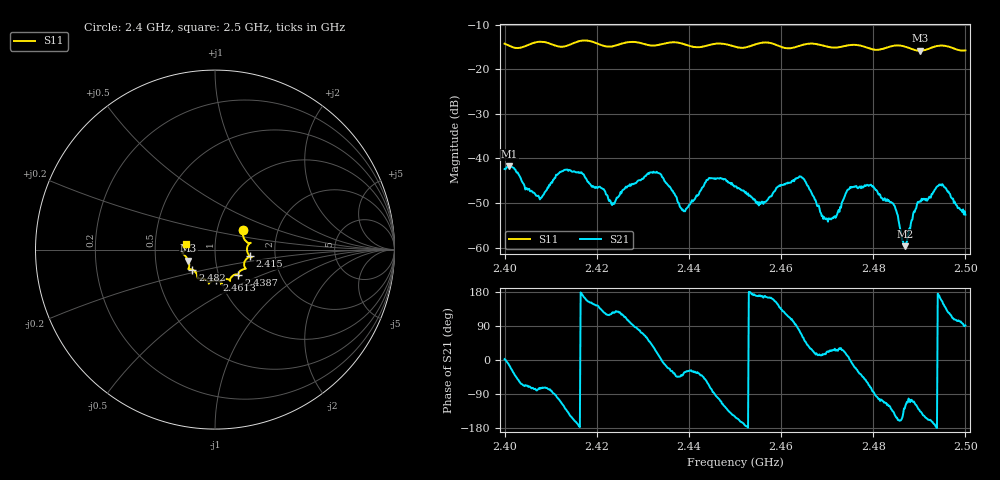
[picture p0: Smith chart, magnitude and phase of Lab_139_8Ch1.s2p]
# Hz S RI R 50
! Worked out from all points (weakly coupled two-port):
!   601 points, 2.4 GHz to 2.5 GHz, reference 50 ohm
!   highest |S21| = -41.78 dB at 2.401 GHz (marker M1); lowest = -59.7 dB at 2.4868 GHz (marker M2)
!   lowest |S11| = -15.9 dB at 2.4902 GHz (marker M3), VSWR 1.38, Z = 36.8 - j4.66 ohm
!   |S11| at or under -10 dB: start of sweep to end of sweep
!   S12 and S22 are empty: the file has one direction only
!   S11 on the Smith chart (normalised r, x): 2.4 GHz: 1.33, +0.31; 2.415 GHz: 1.47, -0.11; 2.4387 GHz: 1.24, -0.36; 2.4613 GHz: 0.96, -0.34; 2.482 GHz: 0.76, -0.17; 2.5 GHz: 0.72, +0.05
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2.4e9  0.1573 0.1115  0.0076 0.000316  0 0  0 0
2.401e9  0.1551 0.0967  0.0079 -0.00197  0 0  0 0
2.407667e9  0.1993 0.0376  0.000839 -0.00337  0 0  0 0
2.415e9  0.1924 -0.0357  -0.00663 -0.00272  0 0  0 0
2.416667e9  0.2037 -0.0435  -0.00697 0.0005  0 0  0 0
2.4235e9  0.1624 -0.0788  -0.00186 0.00255  0 0  0 0
2.433333e9  0.1321 -0.1318  0.00666 0.00169  0 0  0 0
2.438667e9  0.1301 -0.1417  0.00204 -0.00172  0 0  0 0
2.444333e9  0.0843 -0.1658  0.00242 -0.00551  0 0  0 0
2.45e9  0.0687 -0.1647  -0.00418 -0.00246  0 0  0 0
2.455667e9  0.0357 -0.1936  -0.00311 0.000683  0 0  0 0
2.461333e9  0.00789 -0.1708  -0.00243 0.00464  0 0  0 0
2.4645e9  -0.0308 -0.1834  0.00251 0.00556  0 0  0 0
2.466667e9  -0.0347 -0.1902  0.0036 0.00188  0 0  0 0
2.47e9  -0.0433 -0.1729  0.00195 0.000806  0 0  0 0
2.475333e9  -0.0943 -0.1612  0.00476 -0.000619  0 0  0 0
2.482e9  -0.1258 -0.1117  -0.00109 -0.00338  0 0  0 0
2.483333e9  -0.1396 -0.1087  -0.00178 -0.00291  0 0  0 0
2.486833e9  -0.1463 -0.1032  -0.000643 -0.000817  0 0  0 0
2.490167e9  -0.1482 -0.0616  -0.00236 -0.00231  0 0  0 0
2.494833e9  -0.1825 -0.0203  -0.00459 0.00193  0 0  0 0
2.5e9  -0.1588 0.0326  -5.65e-05 0.00234  0 0  0 0
